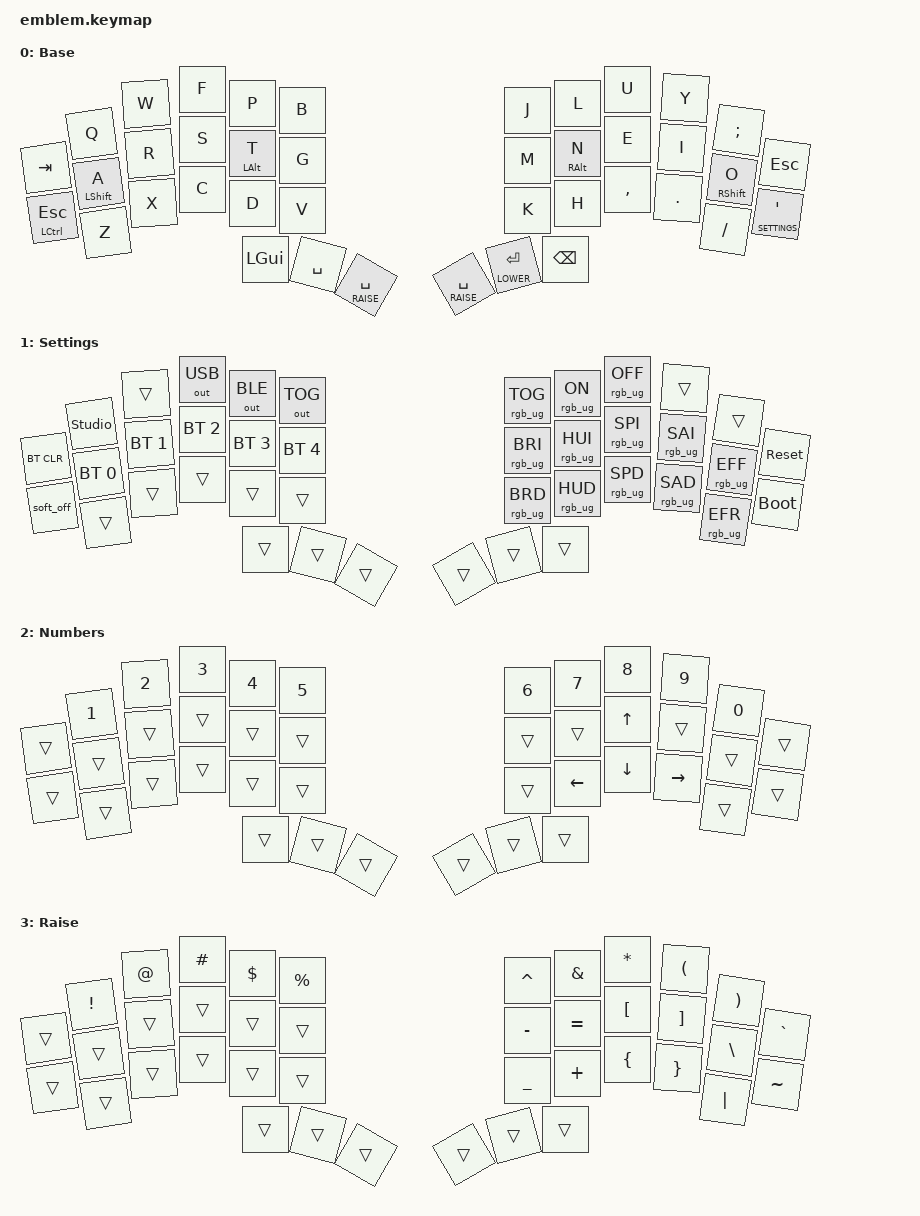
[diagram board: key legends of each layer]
#include <behaviors.dtsi>
#include <dt-bindings/zmk/bt.h>
#include <dt-bindings/zmk/keys.h>
#include <dt-bindings/zmk/outputs.h>
#include <dt-bindings/zmk/ext_power.h>
#include <dt-bindings/zmk/rgb.h>

#define DEFAULT 0
#define SETTINGS 1
#define LOWER 2
#define RAISE 3
#define GAME 4

&mt {
    quick-tap-ms = <100>;
    global-quick-tap;
    flavor = "tap-preferred";
    tapping-term-ms = <170>;
    retro-tap;
};

&lt {
    tapping-term-ms = <240>;
    flavor = "balanced";
    quick-tap-ms = <150>;
};

/ {
    behaviors {
        hm: homerow_mods {
            compatible = "zmk,behavior-hold-tap";
            #binding-cells = <2>;
            flavor = "tap-preferred";
            tapping-term-ms = <200>;
            quick-tap-ms = <125>;
            bindings =
                <&kp>,
                <&kp>;
        };
        ht_hp: hold_prefererd_hold_tap {
            compatible = "zmk,behavior-hold-tap";
            flavor = "hold-preferred";
            #binding-cells = <2>;
            tapping-term-ms = <170>;
            bindings = <&kp>, <&kp>;
        };
    };
    conditional_layers {
        comptable = "zmk,conditional_layers";
        settings_layer {
            if-layer = <2 3>;
            then-layer =<1>;
        };
    };
    combos {
        compatible = "zmk,combos";
        combo_game_layer {
            timeout-ms = <50>;
            key-positions = <35 38>;
            bindings = <&tog GAME>;
        };
    };

    keymap {
        compatible = "zmk,keymap";
        // ------------------------------------ positions ------------------------------------------
        //        |   0  |   1  |   2  |   3  |   4  |   |   5  |   6  |   7  |   8  |   9  |
        // |  10  |  11  |  12  |  13  |  14  |  15  |   |  16  |  17  |  18  |  19  |  20  |  21  |
        // |  22  |  23  |  24  |  25  |  26  |  27  |   |  28  |  29  |  30  |  31  |  32  |  33  |
        //                      |  34  |  35  |  36  |   |  37  |  38  |  39  |

        default_layer {
            display-name = "Base";
        // -----------------------------------------------------------------------------------------
        //       |  Q  |  W  |  F  |  P  |  B  |   |  J  |  L   |  U  |  Y  |  ;  | 
        // | Tab |  A  |  R  |  S  |  T  |  G  |   |  M  |  N   |  E  |  I  |  O  | ESC |
        // | ESC |  Z  |  X  |  C  |  D  |  V  |   |  K  |  H   |  ,  |  .  |  /  |  '  |
        //                   | GUI | SPC | LWR |   | RSE | ENT  | BKS |
            bindings = <
                          &kp Q       &kp W    &kp F      &kp P                &kp B            &kp J          &kp L      &kp U     &kp Y   &kp SEMI
            &kp TAB       &hm LSHFT A &kp R    &kp S      &hm LALT T           &kp G            &kp M          &hm RALT N &kp E     &kp I   &hm RSHFT O &kp ESC
            &hm LCTRL ESC &kp Z       &kp X    &kp C      &kp D                &kp V            &kp K          &kp H      &kp COMMA &kp DOT &kp FSLH    &lt SETTINGS SQT
                                      &kp LGUI &kp SPACE  &lt RAISE SPACE      &lt RAISE SPACE  &lt LOWER RET  &kp BSPC
            >;
        };

        settings_layer {
            display-name = "Settings";
        // -----------------------------------------------------------------------------------------
        //            | Studio Unlock |      | USB Out | BLE Out | Toggle Out |   | RGB Toggle   | RGB ON     | RGB OFF     |           |               |
        // | BT Clear | BT 0          | BT 1 | BT 2    | BT 3    | BT 4       |   | RGB Bright + | RGB Hue +  | RGB Speed + | RGB Sat + | RGB Effects > | System Reset |
        // | Soft Off |               |      |         |         |            |   | RGB Bright - | RGB Hue -  | RGB Speed - | RGB Sat - | RGB Effects < | Bootloader   |
        //                                   |         |         |            |   |              |            | Studio Unlock |
            bindings = <
                       &studio_unlock  &trans       &out OUT_USB &out OUT_BLE &out OUT_TOG   &rgb_ug RGB_TOG  &rgb_ug RGB_ON   &rgb_ug RGB_OFF  &trans          &trans
            &bt BT_CLR &bt BT_SEL 0    &bt BT_SEL 1 &bt BT_SEL 2 &bt BT_SEL 3 &bt BT_SEL 4   &rgb_ug RGB_BRI  &rgb_ug RGB_HUI  &rgb_ug RGB_SPI  &rgb_ug RGB_SAI &rgb_ug RGB_EFF &sys_reset
            &soft_off  &trans          &trans       &trans       &trans       &trans         &rgb_ug RGB_BRD  &rgb_ug RGB_HUD  &rgb_ug RGB_SPD  &rgb_ug RGB_SAD &rgb_ug RGB_EFR &bootloader
                                                    &trans       &trans       &trans         &trans           &trans           &trans
            >;
        };

        lower_layer {
            display-name = "Numbers";
        // -----------------------------------------------------------------------------------------
        //       |  1  |  2  |  3  |  4  |  5  |   |  6  |  7  |  8  |  9  |  0  |
        // |     |     |     |     |     |     |   |     |     | UP  |     |     |     |
        // |     |     |     |     |     |     |   |     | LFT | DWN | RGT |     |     |
        //                   |     |     |     |   |     |     |     |
            bindings = <
                    &kp N1  &kp N2  &kp N3  &kp N4  &kp N5      &kp N6  &kp N7   &kp N8    &kp N9    &kp N0 
            &trans  &trans  &trans  &trans  &trans  &trans      &trans  &trans   &kp UP    &trans    &trans  &trans
            &trans  &trans  &trans  &trans  &trans  &trans      &trans  &kp LEFT &kp DOWN  &kp RIGHT &trans  &trans
                                    &trans  &trans  &trans      &trans  &trans   &trans
            >;
        };

        raise_layer {
            display-name = "Raise";
        // -----------------------------------------------------------------------------------------
        //       |  !  |  @  |  #  |  $  |  %  |   |  ^  |  &  |  *  |  (  |  )  |
        // |     |     |     |     |     |     |   |  -  |  =  |  [  |  ]  |  \  |  `  |
        // |     |     |     |     |     |     |   |  _  |  +  |  {  |  }  | "|" |  ~  |
        //                    | GUI | SPC | LWR |   | RSE | ENT | BKS |
            bindings = <
                    &kp EXCL &kp AT &kp HASH &kp DLLR &kp PRCNT   &kp CARET &kp AMPS  &kp ASTRK &kp LPAR &kp RPAR 
            &trans  &trans   &trans &trans   &trans   &trans      &kp MINUS &kp EQUAL &kp LBKT  &kp RBKT &kp BSLH &kp GRAVE
            &trans  &trans   &trans &trans   &trans   &trans      &kp UNDER &kp PLUS  &kp LBRC  &kp RBRC &kp PIPE &kp TILDE
                                    &trans   &trans   &trans      &trans    &trans    &trans
            >;
        };

    };
};               
